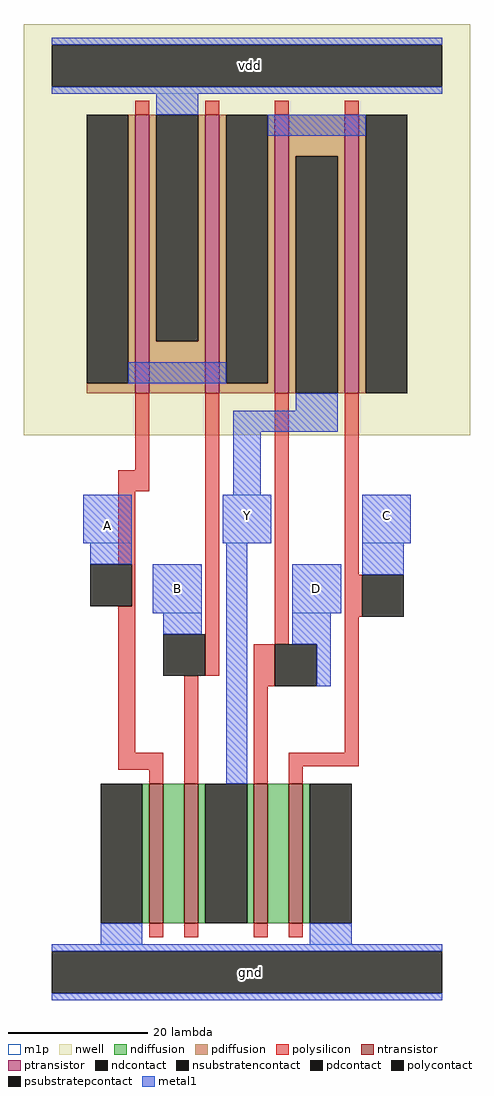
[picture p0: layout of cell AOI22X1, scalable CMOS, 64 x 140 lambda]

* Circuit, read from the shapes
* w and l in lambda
.subckt AOI22X1 A B C D Y vdd gnd
M1 n1 A gnd gnd nfet w=20 l=2
M2 Y B n1 gnd nfet w=20 l=2
M3 n2 D Y gnd nfet w=20 l=2
M4 gnd C n2 gnd nfet w=20 l=2
M5 vdd A n3 vdd pfet w=40 l=2
M6 n3 B vdd vdd pfet w=40 l=2
M7 Y D n3 vdd pfet w=40 l=2
M8 n3 C Y vdd pfet w=40 l=2
.ends

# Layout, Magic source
magic
tech scmos
magscale 1 2
<< nwell >>
rect -14 154 114 272
<< ntransistor >>
rect 22 14 26 54
rect 32 14 36 54
rect 52 14 56 54
rect 62 14 66 54
<< ptransistor >>
rect 18 166 22 246
rect 38 166 42 246
rect 58 166 62 246
rect 78 166 82 246
<< ndiffusion >>
rect 20 14 22 54
rect 26 14 32 54
rect 36 14 38 54
rect 50 14 52 54
rect 56 14 62 54
rect 66 14 68 54
<< pdiffusion >>
rect 16 169 18 246
rect 4 166 18 169
rect 22 181 24 246
rect 36 181 38 246
rect 22 166 38 181
rect 42 169 44 246
rect 56 169 58 246
rect 42 166 58 169
rect 62 234 78 246
rect 62 166 64 234
rect 76 166 78 234
rect 82 166 84 246
<< ndcontact >>
rect 8 14 20 54
rect 38 14 50 54
rect 68 14 80 54
<< pdcontact >>
rect 4 169 16 246
rect 24 181 36 246
rect 44 169 56 246
rect 64 166 76 234
rect 84 166 96 246
<< psubstratepcontact >>
rect -6 -6 106 6
<< nsubstratencontact >>
rect -6 254 106 266
<< polysilicon >>
rect 18 246 22 250
rect 38 246 42 250
rect 58 246 62 250
rect 78 246 82 250
rect 18 144 22 166
rect 13 138 22 144
rect 13 117 18 138
rect 17 105 18 117
rect 13 63 18 105
rect 38 85 42 166
rect 58 94 62 166
rect 78 114 82 166
rect 78 102 83 114
rect 13 58 26 63
rect 22 54 26 58
rect 32 54 36 85
rect 52 82 58 94
rect 52 54 56 82
rect 78 63 82 102
rect 62 59 82 63
rect 62 54 66 59
rect 22 10 26 14
rect 32 10 36 14
rect 52 10 56 14
rect 62 10 66 14
<< polycontact >>
rect 5 105 17 117
rect 26 85 38 97
rect 83 102 95 114
rect 58 82 70 94
<< metal1 >>
rect -6 266 106 268
rect -6 252 106 254
rect 24 246 36 252
rect 16 169 44 175
rect 56 240 84 246
rect 64 161 76 166
rect 46 155 76 161
rect 46 137 54 155
rect 3 123 17 137
rect 43 123 57 137
rect 83 123 97 137
rect 5 117 17 123
rect 23 103 37 117
rect 26 97 37 103
rect 44 54 50 123
rect 63 103 77 117
rect 83 114 95 123
rect 63 94 74 103
rect 70 82 74 94
rect 8 8 20 14
rect 68 8 80 14
rect -6 6 106 8
rect -6 -8 106 -6
<< m1p >>
rect -6 252 106 268
rect 3 123 17 137
rect 43 123 57 137
rect 83 123 97 137
rect 23 103 37 117
rect 63 103 77 117
rect -6 -8 106 8
<< labels >>
rlabel nsubstratencontact 51 260 51 260 0 vdd
port 6 nsew power bidirectional abutment
rlabel psubstratepcontact 51 0 51 0 0 gnd
port 7 nsew ground bidirectional abutment
rlabel metal1 10 128 10 128 0 A
port 1 nsew signal input
rlabel metal1 50 131 50 131 0 Y
port 5 nsew signal output
rlabel metal1 90 131 90 131 0 C
port 3 nsew signal input
rlabel metal1 30 110 30 110 0 B
port 2 nsew signal input
rlabel metal1 70 110 70 110 0 D
port 4 nsew signal input
<< properties >>
string FIXED_BBOX 0 0 100 260
string LEFclass CORE
string LEFsite core
string LEFsymmetry X Y
<< end >>
